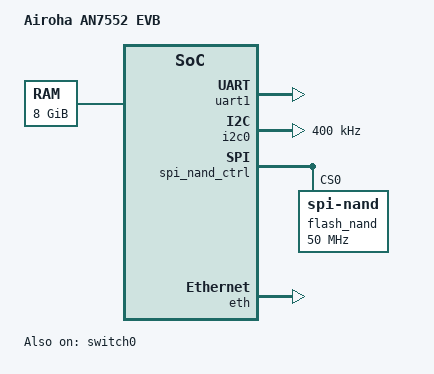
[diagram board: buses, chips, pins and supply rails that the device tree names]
/dts-v1/;
#include <dt-bindings/gpio/gpio.h>
#include <dt-bindings/input/input.h>
#include "an7552.dtsi"

/ {
	compatible = "airoha,an7552";
	model = "Airoha AN7552 EVB";

	chosen {
		bootargs = "console=ttyS0,115200n8 loglevel=8 earlycon=uart8250,mmio32,0x1fbf0000";
		stdout-path = &uart1;
	};

	memory@80000000 {
		device_type = "memory";
		reg = <0x0 0x80000000 0x2 0x00000000>;
	};
};

&uart1 {
	status = "okay";
};

&i2c0 {
	clock-frequency = <400000>;
	status = "okay";
};

&spi_nand_ctrl {
	status = "okay";

	flash_nand: flash@0 {
		compatible = "spi-nand";
		reg = <0>;
		spi-max-frequency = <50000000>;
		spi-tx-bus-width = <1>;
		spi-rx-bus-width = <2>;
		airoha,bmt;
	};
};

&spi_nor_ctrl {
	status = "disabled";

	flash_nor: flash@1 {
		compatible = "jedec,spi-nor";
		reg = <0>;
		spi-max-frequency = <50000000>;
		spi-tx-bus-width = <1>;
		spi-rx-bus-width = <2>;
	};
};

&eth {
	status = "okay";
	airoha,gsw = <&switch0>;
};

&switch0 {
	status = "okay";
};
